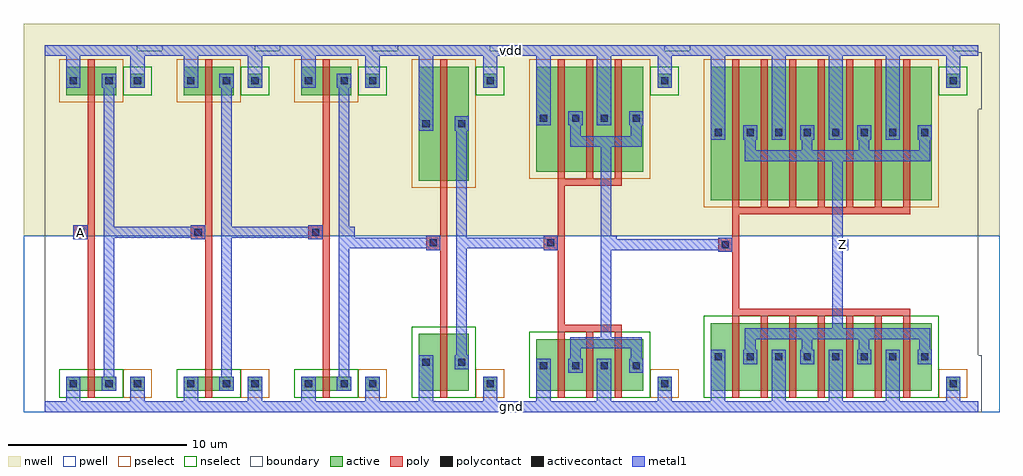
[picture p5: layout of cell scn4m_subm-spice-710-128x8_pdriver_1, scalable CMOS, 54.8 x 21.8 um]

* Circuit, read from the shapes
.subckt scn4m_subm-spice-710-128x8_pdriver_1 A Z gnd vdd
M1 scn4m_subm-spice-710-128x8_pinv_1_1/A A gnd gnd nfet w=0.8u l=0.4u
M2 scn4m_subm-spice-710-128x8_pinv_1_2/A scn4m_subm-spice-710-128x8_pinv_1_1/A gnd gnd nfet w=0.8u l=0.4u
M3 scn4m_subm-spice-710-128x8_pinv_8_3/A scn4m_subm-spice-710-128x8_pinv_1_2/A gnd gnd nfet w=0.8u l=0.4u
M4 scn4m_subm-spice-710-128x8_pinv_9_4/A scn4m_subm-spice-710-128x8_pinv_8_3/A gnd gnd nfet w=3.2u l=0.4u
M5 scn4m_subm-spice-710-128x8_pinv_10_5/A scn4m_subm-spice-710-128x8_pinv_9_4/A gnd gnd nfet w=2.9u l=0.4u m=3
M6 Z scn4m_subm-spice-710-128x8_pinv_10_5/A gnd gnd nfet w=3.8u l=0.4u m=7
M7 scn4m_subm-spice-710-128x8_pinv_1_1/A A vdd vdd pfet w=1.6u l=0.4u
M8 scn4m_subm-spice-710-128x8_pinv_1_2/A scn4m_subm-spice-710-128x8_pinv_1_1/A vdd vdd pfet w=1.6u l=0.4u
M9 scn4m_subm-spice-710-128x8_pinv_8_3/A scn4m_subm-spice-710-128x8_pinv_1_2/A vdd vdd pfet w=1.6u l=0.4u
M10 scn4m_subm-spice-710-128x8_pinv_9_4/A scn4m_subm-spice-710-128x8_pinv_8_3/A vdd vdd pfet w=6.4u l=0.4u
M11 scn4m_subm-spice-710-128x8_pinv_10_5/A scn4m_subm-spice-710-128x8_pinv_9_4/A vdd vdd pfet w=5.9u l=0.4u m=3
M12 Z scn4m_subm-spice-710-128x8_pinv_10_5/A vdd vdd pfet w=7.5u l=0.4u m=7
.ends

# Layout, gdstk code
import gdstk
lib = gdstk.Library(unit=1e-6, precision=1e-09)
def R(c, l, rs):  # rectangles x0, y0, x1, y1
    for r in rs: c.add(gdstk.rectangle(r[:2], r[2:], *l))
def A(c, l, x, y, w, h, nx, ny, dx, dy):  # array of equal rectangles
    R(c, l, [(x+i*dx, y+j*dy, x+i*dx+w, y+j*dy+h) for i in range(nx) for j in range(ny)])
pwell = (41, 0)
nwell = (42, 0)
active = (43, 0)
pselect = (44, 0)
nselect = (45, 0)
poly = (46, 0)
polycontact = (47, 0)
activecontact = (48, 0)
metal1 = (49, 0)
boundary = (63, 0)

scn4m_subm_spice_710_128 = lib.new_cell('scn4m_subm-spice-710-128x8_contact_12')
R(scn4m_subm_spice_710_128, nwell, [(-1.2,-1.2,2,2)])
R(scn4m_subm_spice_710_128, active, [(0,0,0.8,0.8)])
R(scn4m_subm_spice_710_128, pselect, [(-0.4,-0.4,1.2,1.2)])
R(scn4m_subm_spice_710_128, activecontact, [(0.2,0.2,0.6,0.6)])
R(scn4m_subm_spice_710_128, metal1, [(0,0,0.8,0.8)])
R(scn4m_subm_spice_710_128, boundary, [(-1.2,-1.2,2,2)])

c_scn4m_subm_spice_710_128 = lib.new_cell('scn4m_subm-spice-710-128x8_pmos_m1_w1_600_sm1_dm1_da_p')
R(c_scn4m_subm_spice_710_128, nwell, [(-1.2,-1.2,4,2.8)])
R(c_scn4m_subm_spice_710_128, active, [(0,0,2.8,1.6)])
R(c_scn4m_subm_spice_710_128, pselect, [(-0.4,-0.4,3.2,2)])
R(c_scn4m_subm_spice_710_128, poly, [(1.2,-0.4,1.6,2), (1.2,-0.4,1.6,2)])
R(c_scn4m_subm_spice_710_128, metal1, [(0,0.4,0.8,1.2), (2,0.4,2.8,1.2)])
R(c_scn4m_subm_spice_710_128, boundary, [(-1.2,-1.2,4,2.8)])
c_scn4m_subm_spice_710_128.add(gdstk.Reference(scn4m_subm_spice_710_128, (0,0.4)))
c_scn4m_subm_spice_710_128.add(gdstk.Reference(scn4m_subm_spice_710_128, (2,0.4)))
c_scn4m_subm_spice_710_128.add(gdstk.Label('G', (1.4,0.8), layer=46, texttype=0))
c_scn4m_subm_spice_710_128.add(gdstk.Label('S', (0.4,0.8), layer=49, texttype=0))
c_scn4m_subm_spice_710_128.add(gdstk.Label('D', (2.4,0.8), layer=49, texttype=0))

c_scn4m_subm_spice_710_128_ = lib.new_cell('scn4m_subm-spice-710-128x8_contact_11')
R(c_scn4m_subm_spice_710_128_, pwell, [(-1.2,-1.2,2,2)])
R(c_scn4m_subm_spice_710_128_, active, [(0,0,0.8,0.8)])
R(c_scn4m_subm_spice_710_128_, nselect, [(-0.4,-0.4,1.2,1.2)])
R(c_scn4m_subm_spice_710_128_, activecontact, [(0.2,0.2,0.6,0.6)])
R(c_scn4m_subm_spice_710_128_, metal1, [(0,0,0.8,0.8)])
R(c_scn4m_subm_spice_710_128_, boundary, [(-1.2,-1.2,2,2)])

c_scn4m_subm_spice_710_128__ = lib.new_cell('scn4m_subm-spice-710-128x8_nmos_m1_w0_800_sm1_dm1_da_p')
R(c_scn4m_subm_spice_710_128__, pwell, [(-1.2,-1.2,4,2)])
R(c_scn4m_subm_spice_710_128__, active, [(0,0,2.8,0.8)])
R(c_scn4m_subm_spice_710_128__, nselect, [(-0.4,-0.4,3.2,1.2)])
R(c_scn4m_subm_spice_710_128__, poly, [(1.2,-0.4,1.6,1.2), (1.2,-0.4,1.6,1.2)])
R(c_scn4m_subm_spice_710_128__, metal1, [(0,0,0.8,0.8), (2,0,2.8,0.8)])
R(c_scn4m_subm_spice_710_128__, boundary, [(-1.2,-1.2,4,2)])
c_scn4m_subm_spice_710_128__.add(gdstk.Reference(c_scn4m_subm_spice_710_128_, (0,0)))
c_scn4m_subm_spice_710_128__.add(gdstk.Reference(c_scn4m_subm_spice_710_128_, (2,0)))
c_scn4m_subm_spice_710_128__.add(gdstk.Label('G', (1.4,0.4), layer=46, texttype=0))
c_scn4m_subm_spice_710_128__.add(gdstk.Label('S', (0.4,0.4), layer=49, texttype=0))
c_scn4m_subm_spice_710_128__.add(gdstk.Label('D', (2.4,0.4), layer=49, texttype=0))

c_scn4m_subm_spice_710_128___ = lib.new_cell('scn4m_subm-spice-710-128x8_contact_13')
R(c_scn4m_subm_spice_710_128___, nwell, [(-1.2,-1.2,2,2)])
R(c_scn4m_subm_spice_710_128___, active, [(0,0,0.8,0.8)])
R(c_scn4m_subm_spice_710_128___, nselect, [(-0.4,-0.4,1.2,1.2)])
R(c_scn4m_subm_spice_710_128___, activecontact, [(0.2,0.2,0.6,0.6)])
R(c_scn4m_subm_spice_710_128___, metal1, [(0,0,0.8,0.8)])
R(c_scn4m_subm_spice_710_128___, boundary, [(-1.2,-1.2,2,2)])

c_scn4m_subm_spice_710_128____ = lib.new_cell('scn4m_subm-spice-710-128x8_contact_14')
R(c_scn4m_subm_spice_710_128____, pwell, [(-1.2,-1.2,2,2)])
R(c_scn4m_subm_spice_710_128____, active, [(0,0,0.8,0.8)])
R(c_scn4m_subm_spice_710_128____, pselect, [(-0.4,-0.4,1.2,1.2)])
R(c_scn4m_subm_spice_710_128____, activecontact, [(0.2,0.2,0.6,0.6)])
R(c_scn4m_subm_spice_710_128____, metal1, [(0,0,0.8,0.8)])
R(c_scn4m_subm_spice_710_128____, boundary, [(-1.2,-1.2,2,2)])

c_scn4m_subm_spice_710_128_____ = lib.new_cell('scn4m_subm-spice-710-128x8_contact_15')
R(c_scn4m_subm_spice_710_128_____, poly, [(0,0,0.8,0.8)])
R(c_scn4m_subm_spice_710_128_____, polycontact, [(0.2,0.2,0.6,0.6)])
R(c_scn4m_subm_spice_710_128_____, metal1, [(0,0,0.8,0.8)])
R(c_scn4m_subm_spice_710_128_____, boundary, [(0,0,0.8,0.8)])

c_scn4m_subm_spice_710_128______ = lib.new_cell('scn4m_subm-spice-710-128x8_pinv_1')
R(c_scn4m_subm_spice_710_128______, pwell, [(-1.2,-0.3,7.8,9.6)])
R(c_scn4m_subm_spice_710_128______, nwell, [(-1.2,9.6,7.8,21.5)])
R(c_scn4m_subm_spice_710_128______, poly, [(2.4,2.1,2.8,17.1), (2,9.4,2.4,10.2)])
R(c_scn4m_subm_spice_710_128______, metal1, [(0,-0.3,6.6,0.3), (1.2,-0.3,2,0.9), (4.8,0,5.6,1.3), (3.3,0.9,3.9,18.7), (1.6,9.4,2.4,10.2), (3.6,9.5,4.2,10.1), (1.2,17.9,2,20.3), (4.8,18.3,5.6,20), (0,19.7,6.6,20.3)])
R(c_scn4m_subm_spice_710_128______, boundary, [(0,0,6.6,20), (0,0,6.6,20)])
c_scn4m_subm_spice_710_128______.add(gdstk.Reference(c_scn4m_subm_spice_710_128, (1.2,17.5)))
c_scn4m_subm_spice_710_128______.add(gdstk.Reference(c_scn4m_subm_spice_710_128__, (1.2,0.9)))
c_scn4m_subm_spice_710_128______.add(gdstk.Reference(c_scn4m_subm_spice_710_128___, (4.8,17.9)))
c_scn4m_subm_spice_710_128______.add(gdstk.Reference(c_scn4m_subm_spice_710_128____, (4.8,0.9)))
c_scn4m_subm_spice_710_128______.add(gdstk.Reference(c_scn4m_subm_spice_710_128_____, (1.6,9.4)))
c_scn4m_subm_spice_710_128______.add(gdstk.Label('A', (2,9.8), layer=49, texttype=0))
c_scn4m_subm_spice_710_128______.add(gdstk.Label('Z', (3.9,9.8), layer=49, texttype=0))
c_scn4m_subm_spice_710_128______.add(gdstk.Label('gnd', (3.3,0), layer=49, texttype=0))
c_scn4m_subm_spice_710_128______.add(gdstk.Label('vdd', (3.3,20), layer=49, texttype=0))

c_scn4m_subm_spice_710_128_______ = lib.new_cell('scn4m_subm-spice-710-128x8_pmos_m1_w6_400_sm1_dm1_da_p')
R(c_scn4m_subm_spice_710_128_______, nwell, [(-1.2,-1.2,4,7.6)])
R(c_scn4m_subm_spice_710_128_______, active, [(0,0,2.8,6.4)])
R(c_scn4m_subm_spice_710_128_______, pselect, [(-0.4,-0.4,3.2,6.8)])
R(c_scn4m_subm_spice_710_128_______, poly, [(1.2,-0.4,1.6,6.8), (1.2,-0.4,1.6,6.8)])
R(c_scn4m_subm_spice_710_128_______, metal1, [(0,2.8,0.8,3.6), (2,2.8,2.8,3.6)])
R(c_scn4m_subm_spice_710_128_______, boundary, [(-1.2,-1.2,4,7.6)])
c_scn4m_subm_spice_710_128_______.add(gdstk.Reference(scn4m_subm_spice_710_128, (0,2.8)))
c_scn4m_subm_spice_710_128_______.add(gdstk.Reference(scn4m_subm_spice_710_128, (2,2.8)))
c_scn4m_subm_spice_710_128_______.add(gdstk.Label('G', (1.4,3.2), layer=46, texttype=0))
c_scn4m_subm_spice_710_128_______.add(gdstk.Label('S', (0.4,3.2), layer=49, texttype=0))
c_scn4m_subm_spice_710_128_______.add(gdstk.Label('D', (2.4,3.2), layer=49, texttype=0))

c_scn4m_subm_spice_710_128________ = lib.new_cell('scn4m_subm-spice-710-128x8_nmos_m1_w3_200_sm1_dm1_da_p')
R(c_scn4m_subm_spice_710_128________, pwell, [(-1.2,-1.2,4,4.4)])
R(c_scn4m_subm_spice_710_128________, active, [(0,0,2.8,3.2)])
R(c_scn4m_subm_spice_710_128________, nselect, [(-0.4,-0.4,3.2,3.6)])
R(c_scn4m_subm_spice_710_128________, poly, [(1.2,-0.4,1.6,3.6), (1.2,-0.4,1.6,3.6)])
R(c_scn4m_subm_spice_710_128________, metal1, [(0,1.2,0.8,2), (2,1.2,2.8,2)])
R(c_scn4m_subm_spice_710_128________, boundary, [(-1.2,-1.2,4,4.4)])
c_scn4m_subm_spice_710_128________.add(gdstk.Reference(c_scn4m_subm_spice_710_128_, (0,1.2)))
c_scn4m_subm_spice_710_128________.add(gdstk.Reference(c_scn4m_subm_spice_710_128_, (2,1.2)))
c_scn4m_subm_spice_710_128________.add(gdstk.Label('G', (1.4,1.6), layer=46, texttype=0))
c_scn4m_subm_spice_710_128________.add(gdstk.Label('S', (0.4,1.6), layer=49, texttype=0))
c_scn4m_subm_spice_710_128________.add(gdstk.Label('D', (2.4,1.6), layer=49, texttype=0))

c_scn4m_subm_spice_710_128_________ = lib.new_cell('scn4m_subm-spice-710-128x8_pinv_8')
R(c_scn4m_subm_spice_710_128_________, pwell, [(-1.2,-0.3,7.8,9.6)])
R(c_scn4m_subm_spice_710_128_________, nwell, [(-1.2,9.6,7.8,21.5)])
R(c_scn4m_subm_spice_710_128_________, poly, [(2.4,4.5,2.8,12.3), (2,8.8,2.4,9.6)])
R(c_scn4m_subm_spice_710_128_________, metal1, [(0,-0.3,6.6,0.3), (1.2,-0.3,2,2.1), (4.8,0,5.6,1.3), (3.3,2.1,3.9,16.3), (1.6,8.8,2.4,9.6), (3.6,8.9,4.2,9.5), (1.2,15.5,2,20.3), (4.8,18.3,5.6,20), (0,19.7,6.6,20.3)])
R(c_scn4m_subm_spice_710_128_________, boundary, [(0,0,6.6,20), (0,0,6.6,20)])
c_scn4m_subm_spice_710_128_________.add(gdstk.Reference(c_scn4m_subm_spice_710_128_______, (1.2,12.7)))
c_scn4m_subm_spice_710_128_________.add(gdstk.Reference(c_scn4m_subm_spice_710_128________, (1.2,0.9)))
c_scn4m_subm_spice_710_128_________.add(gdstk.Reference(c_scn4m_subm_spice_710_128___, (4.8,17.9)))
c_scn4m_subm_spice_710_128_________.add(gdstk.Reference(c_scn4m_subm_spice_710_128____, (4.8,0.9)))
c_scn4m_subm_spice_710_128_________.add(gdstk.Reference(c_scn4m_subm_spice_710_128_____, (1.6,8.8)))
c_scn4m_subm_spice_710_128_________.add(gdstk.Label('A', (2,9.2), layer=49, texttype=0))
c_scn4m_subm_spice_710_128_________.add(gdstk.Label('Z', (3.9,9.2), layer=49, texttype=0))
c_scn4m_subm_spice_710_128_________.add(gdstk.Label('gnd', (3.3,0), layer=49, texttype=0))
c_scn4m_subm_spice_710_128_________.add(gdstk.Label('vdd', (3.3,20), layer=49, texttype=0))

c_scn4m_subm_spice_710_128__________ = lib.new_cell('scn4m_subm-spice-710-128x8_pmos_m3_w5_900_sm1_dm1_da_p')
R(c_scn4m_subm_spice_710_128__________, nwell, [(-1.2,-1.2,7.2,7.1)])
R(c_scn4m_subm_spice_710_128__________, active, [(0,0,6,5.9)])
R(c_scn4m_subm_spice_710_128__________, pselect, [(-0.4,-0.4,6.4,6.3)])
A(c_scn4m_subm_spice_710_128__________, poly, 1.2, -0.4, 0.4, 6.7, 3, 1, 1.6, 0)
R(c_scn4m_subm_spice_710_128__________, poly, [(1.2,-0.8,4.8,-0.4)])
R(c_scn4m_subm_spice_710_128__________, metal1, [(1.9,1.4,5.9,2), (1.9,1.6,2.5,3), (5.3,1.6,5.9,3), (0,2.6,0.8,3.4), (3.4,2.6,4.2,3.4)])
R(c_scn4m_subm_spice_710_128__________, boundary, [(-1.2,-1.2,7.2,7.1)])
c_scn4m_subm_spice_710_128__________.add(gdstk.Reference(scn4m_subm_spice_710_128, (0,2.6)))
c_scn4m_subm_spice_710_128__________.add(gdstk.Reference(scn4m_subm_spice_710_128, (1.8,2.6)))
c_scn4m_subm_spice_710_128__________.add(gdstk.Reference(scn4m_subm_spice_710_128, (3.4,2.6)))
c_scn4m_subm_spice_710_128__________.add(gdstk.Reference(scn4m_subm_spice_710_128, (5.2,2.6)))
c_scn4m_subm_spice_710_128__________.add(gdstk.Label('G', (3,-0.6), layer=46, texttype=0))
c_scn4m_subm_spice_710_128__________.add(gdstk.Label('S', (0.4,3), layer=49, texttype=0))
c_scn4m_subm_spice_710_128__________.add(gdstk.Label('S', (3.8,3), layer=49, texttype=0))
c_scn4m_subm_spice_710_128__________.add(gdstk.Label('D', (3.9,1.7), layer=49, texttype=0))

c_scn4m_subm_spice_710_128___________ = lib.new_cell('scn4m_subm-spice-710-128x8_nmos_m3_w2_900_sm1_dm1_da_p')
R(c_scn4m_subm_spice_710_128___________, pwell, [(-1.2,-1.2,7.2,4.1)])
R(c_scn4m_subm_spice_710_128___________, active, [(0,0,6,2.9)])
R(c_scn4m_subm_spice_710_128___________, nselect, [(-0.4,-0.4,6.4,3.3)])
A(c_scn4m_subm_spice_710_128___________, poly, 1.2, -0.4, 0.4, 3.7, 3, 1, 1.6, 0)
R(c_scn4m_subm_spice_710_128___________, poly, [(1.2,3.3,4.8,3.7)])
R(c_scn4m_subm_spice_710_128___________, metal1, [(0,1,0.8,1.8), (3.4,1,4.2,1.8), (1.9,1.4,2.5,2.8), (5.3,1.4,5.9,2.8), (1.9,2.4,5.9,3)])
R(c_scn4m_subm_spice_710_128___________, boundary, [(-1.2,-1.2,7.2,4.1)])
c_scn4m_subm_spice_710_128___________.add(gdstk.Reference(c_scn4m_subm_spice_710_128_, (0,1)))
c_scn4m_subm_spice_710_128___________.add(gdstk.Reference(c_scn4m_subm_spice_710_128_, (1.8,1)))
c_scn4m_subm_spice_710_128___________.add(gdstk.Reference(c_scn4m_subm_spice_710_128_, (3.4,1)))
c_scn4m_subm_spice_710_128___________.add(gdstk.Reference(c_scn4m_subm_spice_710_128_, (5.2,1)))
c_scn4m_subm_spice_710_128___________.add(gdstk.Label('G', (3,3.5), layer=46, texttype=0))
c_scn4m_subm_spice_710_128___________.add(gdstk.Label('S', (0.4,1.4), layer=49, texttype=0))
c_scn4m_subm_spice_710_128___________.add(gdstk.Label('S', (3.8,1.4), layer=49, texttype=0))
c_scn4m_subm_spice_710_128___________.add(gdstk.Label('D', (3.9,2.7), layer=49, texttype=0))

c_scn4m_subm_spice_710_128____________ = lib.new_cell('scn4m_subm-spice-710-128x8_pinv_9')
R(c_scn4m_subm_spice_710_128____________, pwell, [(-1.2,-0.3,11,9.6)])
R(c_scn4m_subm_spice_710_128____________, nwell, [(-1.2,9.6,11,21.5)])
R(c_scn4m_subm_spice_710_128____________, poly, [(2.4,4.6,2.8,12.4), (2,8.8,2.4,9.6)])
R(c_scn4m_subm_spice_710_128____________, metal1, [(0,-0.3,9.8,0.3), (1.2,-0.3,2,1.9), (4.6,-0.3,5.4,1.9), (8,0,8.8,1.3), (4.8,3.3,5.4,15.2), (1.6,8.8,2.4,9.6), (5.1,9,5.7,9.6), (1.2,15.8,2,20.3), (4.6,15.8,5.4,20.3), (8,18.3,8.8,20), (0,19.7,9.8,20.3)])
R(c_scn4m_subm_spice_710_128____________, boundary, [(0,0,9.8,20), (0,0,9.8,20)])
c_scn4m_subm_spice_710_128____________.add(gdstk.Reference(c_scn4m_subm_spice_710_128__________, (1.2,13.2)))
c_scn4m_subm_spice_710_128____________.add(gdstk.Reference(c_scn4m_subm_spice_710_128___________, (1.2,0.9)))
c_scn4m_subm_spice_710_128____________.add(gdstk.Reference(c_scn4m_subm_spice_710_128___, (8,17.9)))
c_scn4m_subm_spice_710_128____________.add(gdstk.Reference(c_scn4m_subm_spice_710_128____, (8,0.9)))
c_scn4m_subm_spice_710_128____________.add(gdstk.Reference(c_scn4m_subm_spice_710_128_____, (1.6,8.8)))
c_scn4m_subm_spice_710_128____________.add(gdstk.Label('A', (2,9.2), layer=49, texttype=0))
c_scn4m_subm_spice_710_128____________.add(gdstk.Label('Z', (5.4,9.3), layer=49, texttype=0))
c_scn4m_subm_spice_710_128____________.add(gdstk.Label('gnd', (4.9,0), layer=49, texttype=0))
c_scn4m_subm_spice_710_128____________.add(gdstk.Label('vdd', (4.9,20), layer=49, texttype=0))

c_scn4m_subm_spice_710_128_____________ = lib.new_cell('scn4m_subm-spice-710-128x8_pmos_m7_w7_500_sm1_dm1_da_p')
R(c_scn4m_subm_spice_710_128_____________, nwell, [(-1.2,-1.2,13.6,8.7)])
R(c_scn4m_subm_spice_710_128_____________, active, [(0,0,12.4,7.5)])
R(c_scn4m_subm_spice_710_128_____________, pselect, [(-0.4,-0.4,12.8,7.9)])
A(c_scn4m_subm_spice_710_128_____________, poly, 1.2, -0.4, 0.4, 8.3, 7, 1, 1.6, 0)
R(c_scn4m_subm_spice_710_128_____________, poly, [(1.2,-0.8,11.2,-0.4)])
A(c_scn4m_subm_spice_710_128_____________, metal1, 1.9, 2.4, 0.6, 1.4, 3, 1, 3.2, 0)
A(c_scn4m_subm_spice_710_128_____________, metal1, 3.4, 3.4, 0.8, 0.8, 3, 1, 3.2, 0)
R(c_scn4m_subm_spice_710_128_____________, metal1, [(1.9,2.2,12.3,2.8), (11.7,2.4,12.3,3.8), (0,3.4,0.8,4.2)])
R(c_scn4m_subm_spice_710_128_____________, boundary, [(-1.2,-1.2,13.6,8.7)])
c_scn4m_subm_spice_710_128_____________.add(gdstk.Reference(scn4m_subm_spice_710_128, (0,3.4)))
c_scn4m_subm_spice_710_128_____________.add(gdstk.Reference(scn4m_subm_spice_710_128, (1.8,3.4)))
c_scn4m_subm_spice_710_128_____________.add(gdstk.Reference(scn4m_subm_spice_710_128, (3.4,3.4)))
c_scn4m_subm_spice_710_128_____________.add(gdstk.Reference(scn4m_subm_spice_710_128, (5,3.4)))
c_scn4m_subm_spice_710_128_____________.add(gdstk.Reference(scn4m_subm_spice_710_128, (6.6,3.4)))
c_scn4m_subm_spice_710_128_____________.add(gdstk.Reference(scn4m_subm_spice_710_128, (8.2,3.4)))
c_scn4m_subm_spice_710_128_____________.add(gdstk.Reference(scn4m_subm_spice_710_128, (9.8,3.4)))
c_scn4m_subm_spice_710_128_____________.add(gdstk.Reference(scn4m_subm_spice_710_128, (11.6,3.4)))
c_scn4m_subm_spice_710_128_____________.add(gdstk.Label('G', (6.2,-0.6), layer=46, texttype=0))
c_scn4m_subm_spice_710_128_____________.add(gdstk.Label('S', (7,3.8), layer=49, texttype=0))
c_scn4m_subm_spice_710_128_____________.add(gdstk.Label('S', (0.4,3.8), layer=49, texttype=0))
c_scn4m_subm_spice_710_128_____________.add(gdstk.Label('S', (10.2,3.8), layer=49, texttype=0))
c_scn4m_subm_spice_710_128_____________.add(gdstk.Label('S', (3.8,3.8), layer=49, texttype=0))
c_scn4m_subm_spice_710_128_____________.add(gdstk.Label('D', (7.1,2.5), layer=49, texttype=0))

c_scn4m_subm_spice_710_128______________ = lib.new_cell('scn4m_subm-spice-710-128x8_nmos_m7_w3_800_sm1_dm1_da_p')
R(c_scn4m_subm_spice_710_128______________, pwell, [(-1.2,-1.2,13.6,5)])
R(c_scn4m_subm_spice_710_128______________, active, [(0,0,12.4,3.8)])
R(c_scn4m_subm_spice_710_128______________, nselect, [(-0.4,-0.4,12.8,4.2)])
A(c_scn4m_subm_spice_710_128______________, poly, 1.2, -0.4, 0.4, 4.6, 7, 1, 1.6, 0)
R(c_scn4m_subm_spice_710_128______________, poly, [(1.2,4.2,11.2,4.6)])
A(c_scn4m_subm_spice_710_128______________, metal1, 3.4, 1.5, 0.8, 0.8, 3, 1, 3.2, 0)
A(c_scn4m_subm_spice_710_128______________, metal1, 1.9, 1.9, 0.6, 1.3, 3, 1, 3.2, 0)
R(c_scn4m_subm_spice_710_128______________, metal1, [(0,1.5,0.8,2.3), (11.7,1.9,12.3,3.2), (1.9,2.9,12.3,3.5)])
R(c_scn4m_subm_spice_710_128______________, boundary, [(-1.2,-1.2,13.6,5)])
c_scn4m_subm_spice_710_128______________.add(gdstk.Reference(c_scn4m_subm_spice_710_128_, (0,1.5)))
c_scn4m_subm_spice_710_128______________.add(gdstk.Reference(c_scn4m_subm_spice_710_128_, (1.8,1.5)))
c_scn4m_subm_spice_710_128______________.add(gdstk.Reference(c_scn4m_subm_spice_710_128_, (3.4,1.5)))
c_scn4m_subm_spice_710_128______________.add(gdstk.Reference(c_scn4m_subm_spice_710_128_, (5,1.5)))
c_scn4m_subm_spice_710_128______________.add(gdstk.Reference(c_scn4m_subm_spice_710_128_, (6.6,1.5)))
c_scn4m_subm_spice_710_128______________.add(gdstk.Reference(c_scn4m_subm_spice_710_128_, (8.2,1.5)))
c_scn4m_subm_spice_710_128______________.add(gdstk.Reference(c_scn4m_subm_spice_710_128_, (9.8,1.5)))
c_scn4m_subm_spice_710_128______________.add(gdstk.Reference(c_scn4m_subm_spice_710_128_, (11.6,1.5)))
c_scn4m_subm_spice_710_128______________.add(gdstk.Label('G', (6.2,4.4), layer=46, texttype=0))
c_scn4m_subm_spice_710_128______________.add(gdstk.Label('S', (7,1.9), layer=49, texttype=0))
c_scn4m_subm_spice_710_128______________.add(gdstk.Label('S', (10.2,1.9), layer=49, texttype=0))
c_scn4m_subm_spice_710_128______________.add(gdstk.Label('S', (0.4,1.9), layer=49, texttype=0))
c_scn4m_subm_spice_710_128______________.add(gdstk.Label('S', (3.8,1.9), layer=49, texttype=0))
c_scn4m_subm_spice_710_128______________.add(gdstk.Label('D', (7.1,3.2), layer=49, texttype=0))

c_scn4m_subm_spice_710_128_______________ = lib.new_cell('scn4m_subm-spice-710-128x8_pinv_10')
R(c_scn4m_subm_spice_710_128_______________, pwell, [(-1.2,-0.3,17.4,9.6)])
R(c_scn4m_subm_spice_710_128_______________, nwell, [(-1.2,9.6,17.4,21.5)])
R(c_scn4m_subm_spice_710_128_______________, poly, [(2.4,5.5,2.8,10.8), (2,8.7,2.4,9.5)])
A(c_scn4m_subm_spice_710_128_______________, metal1, 4.6, -0.3, 0.8, 2.7, 3, 1, 3.2, 0)
A(c_scn4m_subm_spice_710_128_______________, metal1, 4.6, 15, 0.8, 5.3, 3, 1, 3.2, 0)
R(c_scn4m_subm_spice_710_128_______________, metal1, [(0,-0.3,16.2,0.3), (1.2,-0.3,2,2.4), (14.4,0,15.2,1.3), (8,3.8,8.6,14.4), (1.6,8.7,2.4,9.5), (8.3,8.8,8.9,9.4), (1.2,15,2,20.3), (14.4,18.3,15.2,20), (0,19.7,16.2,20.3)])
R(c_scn4m_subm_spice_710_128_______________, boundary, [(0,0,16.2,20), (0,0,16.2,20)])
c_scn4m_subm_spice_710_128_______________.add(gdstk.Reference(c_scn4m_subm_spice_710_128_____________, (1.2,11.6)))
c_scn4m_subm_spice_710_128_______________.add(gdstk.Reference(c_scn4m_subm_spice_710_128______________, (1.2,0.9)))
c_scn4m_subm_spice_710_128_______________.add(gdstk.Reference(c_scn4m_subm_spice_710_128___, (14.4,17.9)))
c_scn4m_subm_spice_710_128_______________.add(gdstk.Reference(c_scn4m_subm_spice_710_128____, (14.4,0.9)))
c_scn4m_subm_spice_710_128_______________.add(gdstk.Reference(c_scn4m_subm_spice_710_128_____, (1.6,8.7)))
c_scn4m_subm_spice_710_128_______________.add(gdstk.Label('A', (2,9.1), layer=49, texttype=0))
c_scn4m_subm_spice_710_128_______________.add(gdstk.Label('Z', (8.6,9.1), layer=49, texttype=0))
c_scn4m_subm_spice_710_128_______________.add(gdstk.Label('gnd', (8.1,0), layer=49, texttype=0))
c_scn4m_subm_spice_710_128_______________.add(gdstk.Label('vdd', (8.1,20), layer=49, texttype=0))

c_scn4m_subm_spice_710_128________________ = lib.new_cell('scn4m_subm-spice-710-128x8_pdriver_1')
R(c_scn4m_subm_spice_710_128________________, pwell, [(-1.2,-0.3,53.6,9.6)])
R(c_scn4m_subm_spice_710_128________________, nwell, [(-1.2,9.6,53.6,21.5)])
R(c_scn4m_subm_spice_710_128________________, metal1, [(0,-0.3,52.4,0.3), (31.5,8.8,32.1,9.4), (31.8,8.8,38.2,9.4), (44.5,8.8,45.1,9.4), (16.8,8.9,17.4,9.5), (17.1,8.9,21.8,9.5), (23.7,8.9,28.4,9.5), (31.5,9.1,32.1,9.3), (16.8,9.2,17.4,9.8), (1.6,9.4,2.4,10.2), (3.9,9.5,8.6,10.1), (10.5,9.5,15.2,10.1), (0,19.7,52.4,20.3)])
R(c_scn4m_subm_spice_710_128________________, boundary, [(0,0,52.4,20), (0,0,52.4,20)])
c_scn4m_subm_spice_710_128________________.add(gdstk.Reference(c_scn4m_subm_spice_710_128______, (0,0)))
c_scn4m_subm_spice_710_128________________.add(gdstk.Reference(c_scn4m_subm_spice_710_128______, (6.6,0)))
c_scn4m_subm_spice_710_128________________.add(gdstk.Reference(c_scn4m_subm_spice_710_128______, (13.2,0)))
c_scn4m_subm_spice_710_128________________.add(gdstk.Reference(c_scn4m_subm_spice_710_128_________, (19.8,0)))
c_scn4m_subm_spice_710_128________________.add(gdstk.Reference(c_scn4m_subm_spice_710_128____________, (26.4,0)))
c_scn4m_subm_spice_710_128________________.add(gdstk.Reference(c_scn4m_subm_spice_710_128_______________, (36.2,0)))
c_scn4m_subm_spice_710_128________________.add(gdstk.Label('Z', (44.8,9.1), layer=49, texttype=0))
c_scn4m_subm_spice_710_128________________.add(gdstk.Label('A', (2,9.8), layer=49, texttype=0))
c_scn4m_subm_spice_710_128________________.add(gdstk.Label('gnd', (26.2,0), layer=49, texttype=0))
c_scn4m_subm_spice_710_128________________.add(gdstk.Label('vdd', (26.2,20), layer=49, texttype=0))

lib.write_gds('scn4m_subm-spice-710-128x8_pdriver_1.gds')
